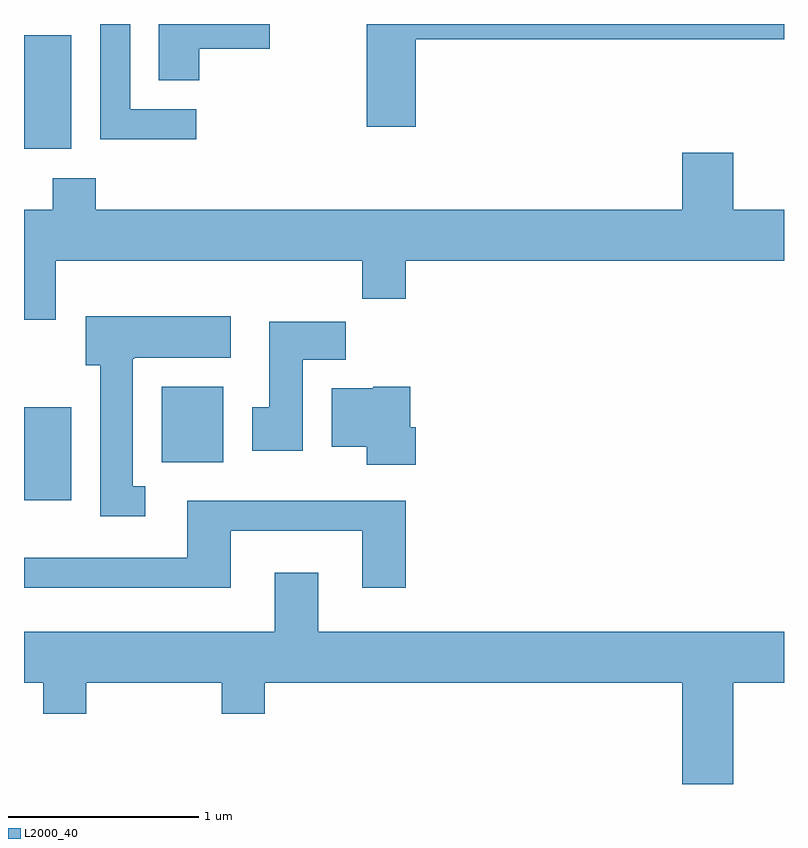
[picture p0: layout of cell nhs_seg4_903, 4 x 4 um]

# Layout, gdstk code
import gdstk
lib = gdstk.Library(unit=1e-6, precision=1e-09)
def R(c, l, rs):  # rectangles x0, y0, x1, y1
    for r in rs: c.add(gdstk.rectangle(r[:2], r[2:], *l))
def P(c, l, *ps):  # polygons
    for p in ps: c.add(gdstk.Polygon(p, *l))
L2000_40 = (2000, 40)

nhs_seg4_903 = lib.new_cell('nhs_seg4_903')
R(nhs_seg4_903, L2000_40, [(211.611,1293.476,211.859,1293.964), (212.336,1293.676,212.659,1294.074), (211.611,1295.326,211.859,1295.924)])
P(nhs_seg4_903, L2000_40, [(213.674,1295.901),(215.611,1295.901),(215.611,1295.982),(213.416,1295.982),(213.416,1295.441),(213.674,1295.441)],
  [(212.518,1295.534),(212.169,1295.534),(212.169,1295.982),(212.011,1295.982),(212.011,1295.376),(212.518,1295.376)],
  [(212.534,1295.851),(212.904,1295.851),(212.904,1295.982),(212.321,1295.982),(212.321,1295.686),(212.534,1295.686)],
  [(211.779,1294.736),(213.391,1294.736),(213.391,1294.536),(213.619,1294.536),(213.619,1294.736),(215.611,1294.736),(215.611,1295.004),(215.344,1295.004),(215.344,1295.304),(215.076,1295.304),(215.076,1295.004),(211.989,1295.004),(211.989,1295.169),(211.761,1295.169),(211.761,1295.004),(211.611,1295.004),(211.611,1294.426),(211.779,1294.426)],
  [(212.248,1293.549),(212.184,1293.549),(212.184,1294.22),(212.19,1294.22),(212.19,1294.226),(212.699,1294.226),(212.699,1294.444),(211.936,1294.444),(211.936,1294.186),(212.011,1294.186),(212.011,1293.391),(212.248,1293.391)],
  [(213.079,1294.216),(213.304,1294.216),(213.304,1294.414),(212.901,1294.414),(212.901,1293.964),(212.811,1293.964),(212.811,1293.736),(213.079,1293.736)],
  [(213.674,1293.859),(213.644,1293.859),(213.644,1294.074),(213.45,1294.074),(213.45,1294.064),(213.231,1294.064),(213.231,1293.756),(213.416,1293.756),(213.416,1293.661),(213.674,1293.661)],
  [(212.699,1293.316),(213.391,1293.316),(213.391,1293.016),(213.619,1293.016),(213.619,1293.474),(212.471,1293.474),(212.471,1293.174),(211.611,1293.174),(211.611,1293.016),(212.699,1293.016)],
  [(215.344,1292.516),(215.611,1292.516),(215.611,1292.784),(213.159,1292.784),(213.159,1293.094),(212.931,1293.094),(212.931,1292.784),(211.611,1292.784),(211.611,1292.516),(211.711,1292.516),(211.711,1292.351),(211.939,1292.351),(211.939,1292.516),(212.651,1292.516),(212.651,1292.351),(212.879,1292.351),(212.879,1292.516),(215.076,1292.516),(215.076,1291.982),(215.344,1291.982)])

lib.write_gds('nhs_seg4_903.gds')
